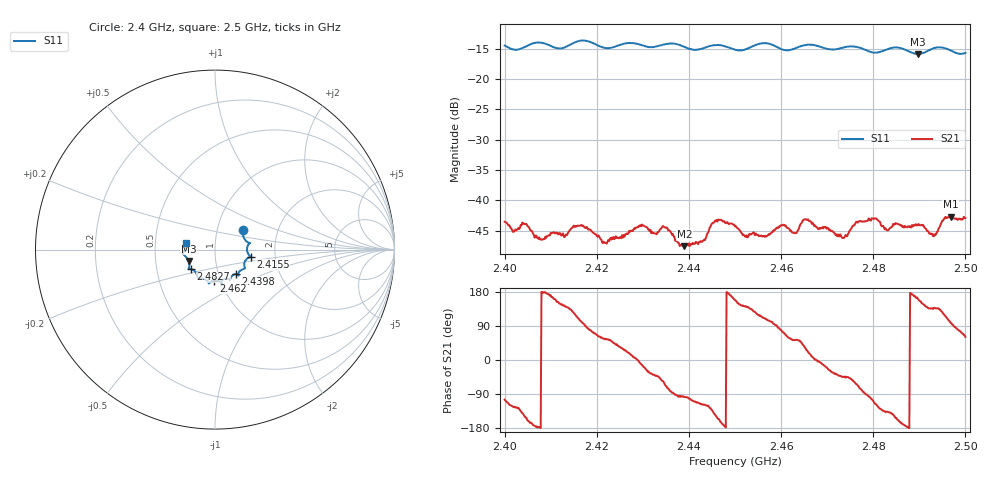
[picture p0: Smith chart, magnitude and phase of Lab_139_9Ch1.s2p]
# Hz S RI R 50
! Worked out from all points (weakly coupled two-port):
!   601 points, 2.4 GHz to 2.5 GHz, reference 50 ohm
!   highest |S21| = -42.71 dB at 2.4968 GHz (marker M1); lowest = -47.6 dB at 2.439 GHz (marker M2)
!   lowest |S11| = -15.9 dB at 2.4897 GHz (marker M3), VSWR 1.38, Z = 36.9 - j4.81 ohm
!   |S11| at or under -10 dB: start of sweep to end of sweep
!   S12 and S22 are empty: the file has one direction only
!   S11 on the Smith chart (normalised r, x): 2.4 GHz: 1.33, +0.29; 2.4155 GHz: 1.49, -0.12; 2.4398 GHz: 1.21, -0.34; 2.462 GHz: 0.93, -0.33; 2.4827 GHz: 0.75, -0.17; 2.5 GHz: 0.72, +0.06
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2.4e9  0.1552 0.1066  -0.00169 -0.00644  0 0  0 0
2.408167e9  0.1947 0.0373  -0.00475 0.00022  0 0  0 0
2.4155e9  0.1979 -0.0396  -0.00271 0.00541  0 0  0 0
2.416667e9  0.2027 -0.0432  -0.00116 0.00615  0 0  0 0
2.421667e9  0.1697 -0.0607  0.00251 0.00373  0 0  0 0
2.429667e9  0.1564 -0.1086  0.00597 -0.0012  0 0  0 0
2.433333e9  0.1299 -0.1342  0.00395 -0.00373  0 0  0 0
2.439e9  0.1223 -0.137  -0.000526 -0.00415  0 0  0 0
2.439833e9  0.1151 -0.1361  -0.000697 -0.00417  0 0  0 0
2.446167e9  0.0841 -0.1708  -0.00592 -0.00306  0 0  0 0
2.45e9  0.0644 -0.1618  -0.00566 0.00224  0 0  0 0
2.452333e9  0.0419 -0.1702  -0.00394 0.00306  0 0  0 0
2.462e9  -0.00534 -0.1732  0.00304 0.00468  0 0  0 0
2.466667e9  -0.0347 -0.1881  0.00631 0.00103  0 0  0 0
2.4735e9  -0.0851 -0.1602  0.00348 -0.0034  0 0  0 0
2.480167e9  -0.1113 -0.1213  -0.00265 -0.00657  0 0  0 0
2.482667e9  -0.1352 -0.1087  -0.00435 -0.00396  0 0  0 0
2.483333e9  -0.1403 -0.1084  -0.00423 -0.0038  0 0  0 0
2.489667e9  -0.1474 -0.0635  -0.00599 0.00198  0 0  0 0
2.493167e9  -0.1774 -0.0256  -0.00372 0.00341  0 0  0 0
2.496833e9  -0.1711 -0.0087  -0.00093 0.00726  0 0  0 0
2.5e9  -0.159 0.039  0.00344 0.00623  0 0  0 0
